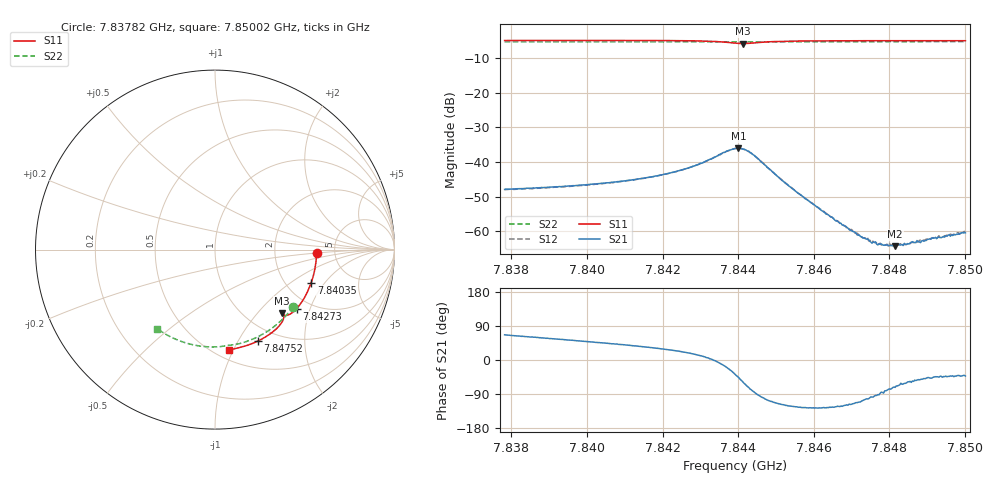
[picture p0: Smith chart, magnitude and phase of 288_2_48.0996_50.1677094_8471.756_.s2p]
#  HZ  S  RI  R  50.00
! Rohde & Schwarz Vector Network Analyzer
! Rohde-Schwarz,ZNB20-2Port,1311601062101988,3.16
! Created: UTC 12/23/2023, 4:03:28 AM
! freq[Hz]  re:S11  im:S11  re:S21  im:S21  re:S12  im:S12  re:S22  im:S22
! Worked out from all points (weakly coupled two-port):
!   401 points, 7.83782 GHz to 7.85002 GHz, reference 50 ohm
!   highest |S21| = -36.03 dB at 7.84401 GHz (marker M1); lowest = -64.3 dB at 7.84816 GHz (marker M2)
!   lowest |S11| = -5.8 dB at 7.84413 GHz (marker M3), VSWR 3.10, Z = 70.9 - j67.9 ohm
!   |S11| at or under -10 dB: nowhere
!   |S22| runs from -5.4 to -5.3 dB; largest |S21 - S12| = 0.00033
!   S11 on the Smith chart (normalised r, x): 7.83782 GHz: 3.60, -0.20; 7.84035 GHz: 2.72, -1.48; 7.84273 GHz: 1.68, -1.62; 7.84752 GHz: 0.82, -1.22; 7.85002 GHz: 0.59, -0.96
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7.837818e9  0.5661 -0.0185  0.00161 0.0037  0.00166 0.00364  0.4362 -0.3178
7.839862e9  0.546 -0.1531  0.00301 0.00355  0.00295 0.00351  0.338 -0.4218
7.84035e9  0.536 -0.1847  0.00344 0.0035  0.00339 0.0035  0.3109 -0.4426
7.841906e9  0.4903 -0.2815  0.00557 0.00324  0.0055 0.00324  0.2161 -0.4963
7.84273e9  0.4541 -0.33  0.008 0.00255  0.00798 0.00257  0.1617 -0.5167
7.843462e9  0.4063 -0.3646  0.0123 -0.00116  0.0123 -0.00101  0.1116 -0.5287
7.84392e9  0.3729 -0.3613  0.0125 -0.00958  0.0124 -0.00948  0.081 -0.5328
7.844011e9  0.3705 -0.3572  0.011 -0.0113  0.011 -0.0113  0.0753 -0.5335
7.844133e9  0.3712 -0.3529  0.00805 -0.0132  0.00807 -0.0131  0.0677 -0.5347
7.844439e9  0.3818 -0.3581  0.000943 -0.0124  0.00108 -0.0123  0.0482 -0.538
7.845201e9  0.369 -0.4106  -0.00247 -0.00466  -0.0025 -0.00466  -0.00529 -0.5428
7.845964e9  0.3305 -0.4515  -0.0015 -0.00204  -0.00153 -0.00206  -0.0592 -0.5403
7.846605e9  0.2946 -0.4782  -0.000771 -0.00118  -0.00081 -0.00119  -0.104 -0.534
7.847246e9  0.2566 -0.5006  -0.000294 -0.000788  -0.00028 -0.000794  -0.1478 -0.5241
7.84752e9  0.24 -0.5089  -9.02e-05 -0.000696  -0.000135 -0.000749  -0.1662 -0.5186
7.847856e9  0.2194 -0.5183  2.89e-05 -0.000631  7.11e-05 -0.000617  -0.1885 -0.5113
7.848008e9  0.2099 -0.5223  0.000149 -0.000604  0.000157 -0.000652  -0.1985 -0.5074
7.848161e9  0.2004 -0.5261  0.000187 -0.000583  0.000217 -0.000599  -0.2085 -0.5037
7.848405e9  0.1849 -0.5317  0.00032 -0.000591  0.000313 -0.00057  -0.2244 -0.497
7.848863e9  0.1558 -0.5409  0.000462 -0.000562  0.000453 -0.000608  -0.2532 -0.4832
7.849168e9  0.1361 -0.5461  0.00056 -0.000571  0.000538 -0.000601  -0.2721 -0.4729
7.850022e9  0.0801 -0.5568  0.000704 -0.000644  0.000712 -0.000652  -0.3225 -0.4407
